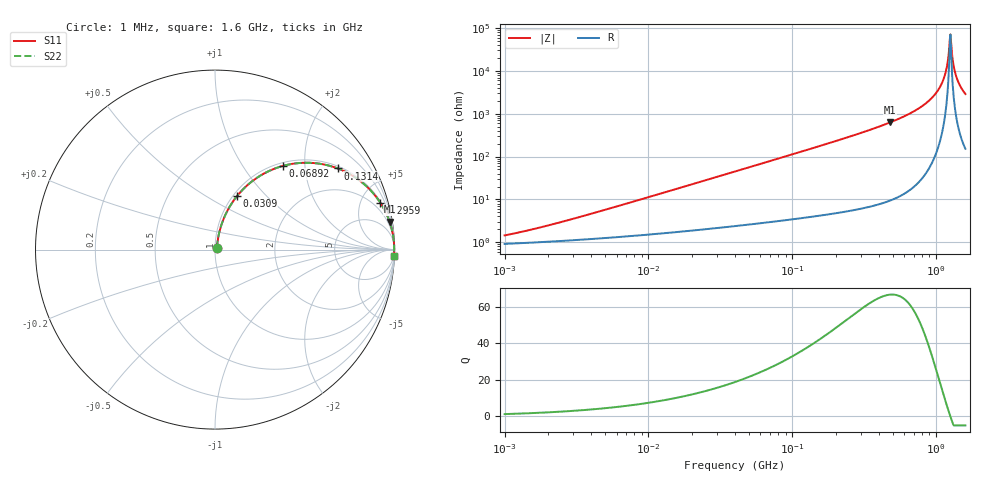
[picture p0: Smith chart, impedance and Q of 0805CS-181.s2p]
# MHz S MA R 50
!Freq  MagS11  AngS11  MagS21  AngS21  MagS12  AngS12  MagS22  AngS22
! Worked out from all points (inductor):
!   801 points, 1 MHz to 1.6 GHz, reference 50 ohm
!   read as one part in series: L = 178 nH near 2.996 MHz
!   highest Q = 66.7 at 478 MHz (marker M1), where L = 208 nH
!   self-resonance near 1.247 GHz
!   S11 on the Smith chart (normalised r, x): 1 MHz: 1.02, +0.02; 30.9 MHz: 1.04, +0.69; 68.92 MHz: 1.06, +1.55; 131.4 MHz: 1.08, +2.97; 295.9 MHz: 1.12, +7.01; 1.6 GHz: 4, -58
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1  0.01432 50.1  0.9909 -0.6  0.9909 -0.6  0.01432 50.1
3.441043  0.03968 71.2  0.9879 -2.2  0.9879 -2.2  0.03968 71.2
11.73208  0.129 75.8  0.9763 -7.4  0.9763 -7.4  0.129 75.8
30.89696  0.3212 67.7  0.9271 -18.7  0.9271 -18.7  0.3212 67.7
40  0.4013 63.3  0.8949 -23.6  0.8949 -23.6  0.4013 63.3
68.92295  0.601 50.9  0.7768 -36.9  0.7768 -36.9  0.601 50.9
131.439  0.82 33.5  0.5515 -55.1  0.5515 -55.1  0.82 33.5
137.6417  0.8321 32.3  0.5339 -56.3  0.5339 -56.3  0.8321 32.3
295.9222  0.9573 15.9  0.2732 -73.2  0.2732 -73.2  0.9573 15.9
469.2832  0.9845 9.3  0.1614 -79.9  0.1614 -79.9  0.9845 9.3
478.0192  0.9851 9.1  0.1576 -80.1  0.1576 -80.1  0.9851 9.1
744.2049  0.9955 4.5  0.07772 -84.5  0.07772 -84.5  0.9955 4.5
981.4022  0.9981 2.0  0.03556 -85.9  0.03556 -85.9  0.9981 2.0
1127.001  0.9986 0.9  0.01564 -84.3  0.01564 -84.3  0.9986 0.9
1180.185  0.9986 0.5  0.009116 -81.0  0.009116 -81.0  0.9986 0.5
1224.533  0.9986 0.2  0.004016 -69.8  0.004016 -69.8  0.9986 0.2
1258.885  0.9986 -0.0  0.001411 6.3  0.001411 6.3  0.9986 -0.0
1294.2  0.9986 -0.2  0.004327 70.4  0.004327 70.4  0.9986 -0.2
1342.833  0.9985 -0.5  0.009442 80.4  0.009442 80.4  0.9985 -0.5
1393.294  0.9984 -0.8  0.01466 83.1  0.01466 83.1  0.9984 -0.8
1486.205  0.9981 -1.4  0.02387 84.7  0.02387 84.7  0.9981 -1.4
1600  0.9976 -2.0  0.03454 85.0  0.03454 85.0  0.9976 -2.0
